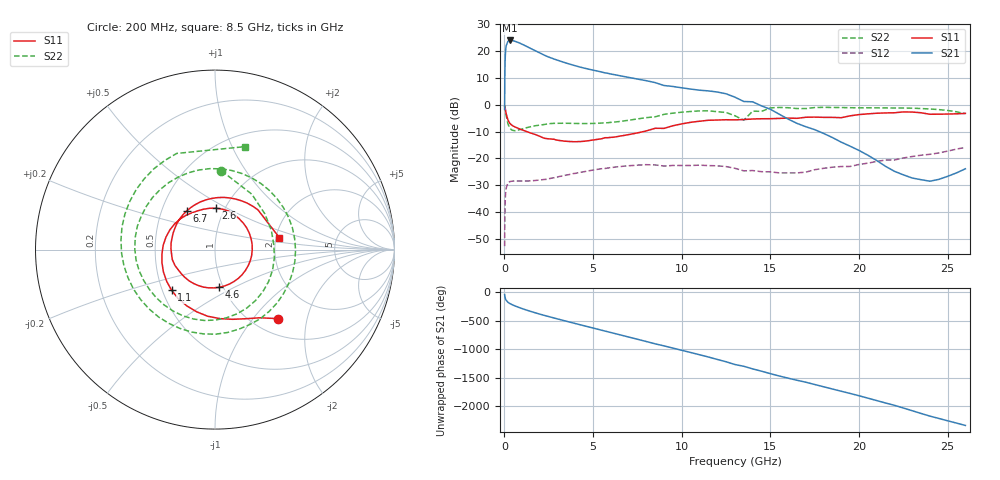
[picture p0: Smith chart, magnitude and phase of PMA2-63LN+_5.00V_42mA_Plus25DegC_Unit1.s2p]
!Keysight Technologies,N5242A,MY48320684,A.10.49.08
!Date: Friday, March 05, 2021 11:01:57
!Correction: S11(Full 2 Port(1,2))
!S21(Full 2 Port(1,2))
!S12(Full 2 Port(1,2))
!S22(Full 2 Port(1,2))
!S2P File: Measurements: S11, S21, S12, S22:
# Hz S  dB  R 50
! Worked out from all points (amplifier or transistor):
!   125 points, 10 MHz to 26 GHz, reference 50 ohm
!   highest |S21| = 24.0 dB at 300 MHz (marker M1)
!   |S21| within 3 dB of that: 77.76 MHz to 1.486 GHz (1.409 GHz wide, 180 % of centre)
!   unconditionally stable (mu >= 1): start of sweep to end of sweep
!   at 1.2 GHz: K = 1.16, MAG = 22.7 dB, |S12| = -28.4 dB
!   at 5.4 GHz: K = 1.50, MAG = 13.9 dB, |S12| = -23.9 dB
!   at 26 GHz: K = 13.72, MAG = -18.4 dB, |S12| = -15.9 dB
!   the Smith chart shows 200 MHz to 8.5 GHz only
!   S11 on the Smith chart (normalised r, x): 200 MHz: 1.28, -1.35; 1.1 GHz: 0.56, -0.28; 2.6 GHz: 0.91, +0.44; 4.6 GHz: 0.96, -0.42; 6.7 GHz: 0.67, +0.31; 8.5 GHz: 2.09, +0.32
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1e7  -0.55 -6.1  -1.70 -39.8  -52.71 137.8  -0.19 -51.8
3e7  -0.95 -15.1  13.65 -79.8  -39.58 107.1  -0.68 -127.7
7e7  -2.35 -29.2  20.49 -123.9  -32.63 64.7  -2.64 162.6
2e8  -5.69 -47.8  23.70 -175.5  -29.11 18.8  -7.11 85.4
3e8  -6.86 -56.8  24.00 164.1  -28.65 3.8  -8.62 56.4
7e8  -8.55 -96.2  23.44 108.4  -28.42 -30.4  -9.53 -7.6
1.1e9  -9.60 -137.0  22.28 63.4  -28.42 -55.4  -8.81 -51.5
1.7e9  -10.99 165.7  20.31 4.2  -28.24 -88.7  -7.85 -107.3
2.6e9  -12.73 88.8  17.57 -74.1  -27.44 -138.0  -6.99 179.3
3.5e9  -13.60 8.4  15.54 -147.7  -26.17 169.1  -6.88 109.0
4.4e9  -13.63 -67.6  13.86 140.8  -25.05 113.4  -6.99 39.6
4.6e9  -13.50 -83.3  13.54 125.1  -24.81 100.7  -6.98 23.9
5.8e9  -12.28 -173.9  11.79 30.8  -23.61 22.5  -6.69 -73.1
6.7e9  -11.47 125.7  10.61 -39.8  -22.89 -37.7  -6.04 -146.0
8.5e9  -8.75 10.4  8.29 177.3  -22.41 -162.1  -4.47 73.7
9e9  -8.78 -18.3  7.20 141.0  -22.84 167.5  -3.55 38.7
1.05e10  -6.53 -104.5  5.88 25.3  -22.63 68.6  -2.49 -73.2
1.2e10  -5.67 167.4  4.79 -95.9  -22.74 -31.5  -2.56 162.5
1.35e10  -5.48 76.5  1.24 143.7  -24.63 -123.5  -5.73 36.7
1.75e10  -4.58 151.0  -9.26 -175.5  -24.20 2.1  -1.01 96.1
2.2e10  -2.96 179.1  -24.80 -179.9  -20.55 71.2  -1.18 -173.2
2.6e10  -3.18 -102.1  -23.85 -172.9  -15.86 147.5  -3.31 -55.6
